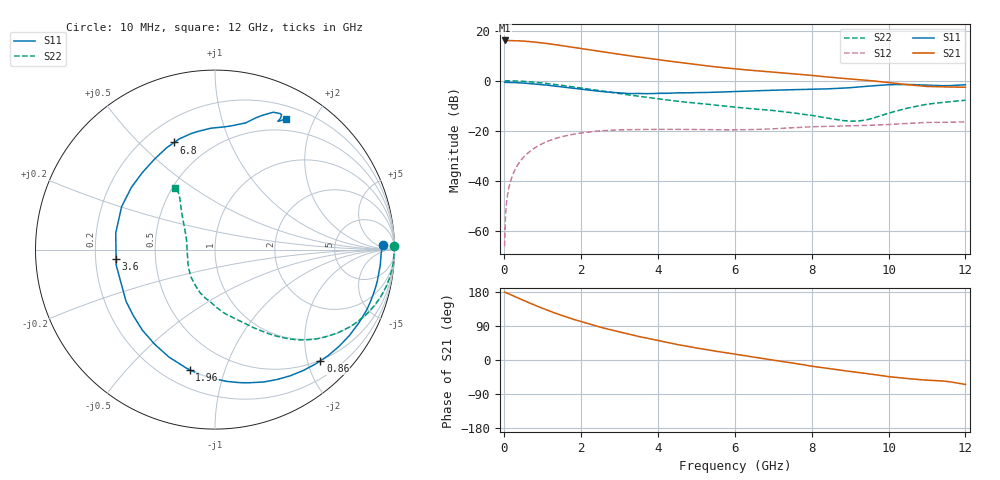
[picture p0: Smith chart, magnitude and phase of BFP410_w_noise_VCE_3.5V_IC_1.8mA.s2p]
! Infineon Technologies  Discrete & RF Semiconductors
! BFP410
! VCE =  3.5 V,  IC =  1.8 mA
! Common Emitter S-Parameters:  Nov 2015
# GHz  S  MA  R  50
!  f  S11  S21  S12  S22
! GHz  MAG  ANG  MAG  ANG  MAG  ANG  MAG  ANG
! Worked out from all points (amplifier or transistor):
!   243 points, 10 MHz to 12 GHz, reference 50 ohm
!   highest |S21| = 16.1 dB at 10 MHz (marker M1)
!   |S21| within 3 dB of that: start of sweep to 1.902 GHz
!   unconditionally stable (mu >= 1): 4.19 GHz to end of sweep
!   at 240 MHz: K = 0.05, MSG = 26.4 dB, |S12| = -36.9 dB
!   at 1.84 GHz: K = 0.35, MSG = 17.2 dB, |S12| = -21.2 dB
!   at 12 GHz: K = 1.16, MAG = 4.5 dB, |S12| = -16.4 dB
!   lowest NFmin = 0.81 dB at 900 MHz
!   S11 on the Smith chart (normalised r, x): 10 MHz: 27, +10; 860 MHz: 0.49, -2.24; 1.96 GHz: 0.30, -0.76; 3.6 GHz: 0.29, -0.04; 6.8 GHz: 0.32, +0.64; 12 GHz: 0.34, +1.63
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0.01  0.9366 1.4  6.359 179.3  0.0005 32.6  1 1.1
0.03  0.9268 -1.0  6.299 178.5  0.0018 84.2  0.9931 -0.1
0.055  0.9249 -2.7  6.295 177.1  0.0034 84.6  0.9978 -1.0
0.185  0.9212 -9.9  6.314 171.7  0.0111 83.6  0.9946 -4.8
0.5  0.8993 -27.1  6.178 157.5  0.0296 75.2  0.9711 -13.2
0.86  0.8535 -46.5  5.827 142.0  0.0491 64.8  0.9228 -22.2
1.1  0.8182 -59.3  5.54 132.3  0.0607 58.3  0.8819 -27.8
1.34  0.7785 -71.8  5.223 123.1  0.0707 51.8  0.8377 -32.8
1.6  0.7375 -84.8  4.884 113.9  0.0798 45.5  0.7889 -37.8
1.96  0.6841 -101.9  4.426 102.5  0.0898 37.8  0.7251 -43.8
2.02  0.6754 -104.6  4.353 100.7  0.0911 36.6  0.7148 -44.7
2.4  0.6254 -122.5  3.941 89.5  0.0986 29.2  0.6481 -50.2
2.78  0.5863 -140.3  3.559 79.3  0.103 22.7  0.5846 -55.1
3.6  0.5534 -174.8  2.898 60.0  0.1066 12.2  0.4786 -64.3
4.1  0.5599 167.3  2.579 49.3  0.1072 7.6  0.4263 -70.0
5  0.5808 143.3  2.096 31.7  0.1063 1.1  0.3559 -82.1
6.1  0.6099 122.0  1.701 13.9  0.1049 -2.1  0.2919 -95.4
6.8  0.6388 110.9  1.525 2.9  0.1084 -3.0  0.2617 -106.0
8.2  0.6808 88.4  1.232 -19.1  0.1215 -8.4  0.1911 -136.9
9.2  0.7487 74.4  1.054 -32.7  0.1269 -12.5  0.1565 176.3
10.2  0.8358 65.7  0.882 -45.9  0.1365 -15.8  0.2482 136.3
12  0.8317 61.4  0.743 -64.5  0.1509 -28.3  0.4075 123.0
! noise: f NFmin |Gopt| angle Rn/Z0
0.45  0.85  0.54  8  0.31
0.9  0.81  0.52  22  0.28
1.8  1.05  0.41  56  0.24
2.4  1.11  0.38  66  0.23
5.5  2.29  0.37  -144  0.22
10  4.11  0.71  -57  2.47
